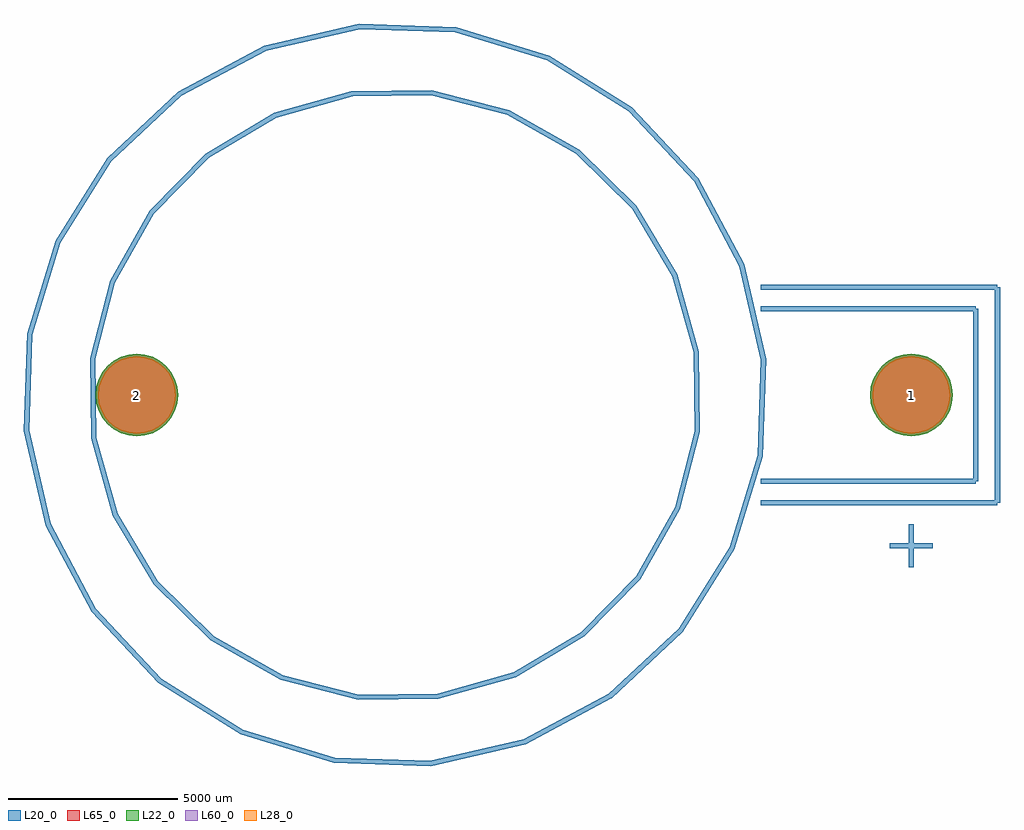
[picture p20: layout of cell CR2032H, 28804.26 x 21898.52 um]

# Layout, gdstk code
import gdstk
lib = gdstk.Library(unit=1e-6, precision=1e-09)
def P(c, l, *ps):  # polygons
    for p in ps: c.add(gdstk.Polygon(p, *l))
L20_0 = (20, 0)
L22_0 = (22, 0)
L28_0 = (28, 0)
L60_0 = (60, 0)
L65_0 = (65, 0)

cr2032h = lib.new_cell('CR2032H')
P(cr2032h, L22_0, [(16458,0),(16434.596,237.62),(16365.285,466.108),(16252.73,676.685),(16101.256,861.256),(15916.685,1012.73),(15706.108,1125.285),(15477.62,1194.596),(15240,1218),(15002.38,1194.596),(14773.892,1125.285),(14563.315,1012.73),(14378.744,861.256),(14227.27,676.685),(14114.715,466.108),(14045.404,237.62),(14022,0),(14045.404,-237.62),(14114.715,-466.108),(14227.27,-676.685),(14378.744,-861.256),(14563.315,-1012.73),(14773.892,-1125.285),(15002.38,-1194.596),(15240,-1218),(15477.62,-1194.596),(15706.108,-1125.285),(15916.685,-1012.73),(16101.256,-861.256),(16252.73,-676.685),(16365.285,-466.108),(16434.596,-237.62)],
  [(-6402,0),(-6425.404,237.62),(-6494.715,466.108),(-6607.27,676.685),(-6758.744,861.256),(-6943.315,1012.73),(-7153.892,1125.285),(-7382.38,1194.596),(-7620,1218),(-7857.62,1194.596),(-8086.108,1125.285),(-8296.685,1012.73),(-8481.256,861.256),(-8632.73,676.685),(-8745.285,466.108),(-8814.596,237.62),(-8838,0),(-8814.596,-237.62),(-8745.285,-466.108),(-8632.73,-676.685),(-8481.256,-861.256),(-8296.685,-1012.73),(-8086.108,-1125.285),(-7857.62,-1194.596),(-7620,-1218),(-7382.38,-1194.596),(-7153.892,-1125.285),(-6943.315,-1012.73),(-6758.744,-861.256),(-6607.27,-676.685),(-6494.715,-466.108),(-6425.404,-237.62)])
P(cr2032h, L28_0, [(16383,0),(16361.038,222.988),(16295.994,437.407),(16190.37,635.017),(16048.223,808.223),(15875.017,950.37),(15677.407,1055.994),(15462.988,1121.038),(15240,1143),(15017.012,1121.038),(14802.593,1055.994),(14604.983,950.37),(14431.777,808.223),(14289.63,635.017),(14184.006,437.407),(14118.962,222.988),(14097,0),(14118.962,-222.988),(14184.006,-437.407),(14289.63,-635.017),(14431.777,-808.223),(14604.983,-950.37),(14802.593,-1055.994),(15017.012,-1121.038),(15240,-1143),(15462.988,-1121.038),(15677.407,-1055.994),(15875.017,-950.37),(16048.223,-808.223),(16190.37,-635.017),(16295.994,-437.407),(16361.038,-222.988)],
  [(-6477,0),(-6498.962,222.988),(-6564.006,437.407),(-6669.63,635.017),(-6811.777,808.223),(-6984.983,950.37),(-7182.593,1055.994),(-7397.012,1121.038),(-7620,1143),(-7842.988,1121.038),(-8057.407,1055.994),(-8255.017,950.37),(-8428.223,808.223),(-8570.37,635.017),(-8675.994,437.407),(-8741.038,222.988),(-8763,0),(-8741.038,-222.988),(-8675.994,-437.407),(-8570.37,-635.017),(-8428.223,-808.223),(-8255.017,-950.37),(-8057.407,-1055.994),(-7842.988,-1121.038),(-7620,-1143),(-7397.012,-1121.038),(-7182.593,-1055.994),(-6984.983,-950.37),(-6811.777,-808.223),(-6669.63,-635.017),(-6564.006,-437.407),(-6498.962,-222.988)])
P(cr2032h, L60_0, [(16383,0),(16361.038,222.988),(16295.994,437.407),(16190.37,635.017),(16048.223,808.223),(15875.017,950.37),(15677.407,1055.994),(15462.988,1121.038),(15240,1143),(15017.012,1121.038),(14802.593,1055.994),(14604.983,950.37),(14431.777,808.223),(14289.63,635.017),(14184.006,437.407),(14118.962,222.988),(14097,0),(14118.962,-222.988),(14184.006,-437.407),(14289.63,-635.017),(14431.777,-808.223),(14604.983,-950.37),(14802.593,-1055.994),(15017.012,-1121.038),(15240,-1143),(15462.988,-1121.038),(15677.407,-1055.994),(15875.017,-950.37),(16048.223,-808.223),(16190.37,-635.017),(16295.994,-437.407),(16361.038,-222.988)],
  [(-6477,0),(-6498.962,222.988),(-6564.006,437.407),(-6669.63,635.017),(-6811.777,808.223),(-6984.983,950.37),(-7182.593,1055.994),(-7397.012,1121.038),(-7620,1143),(-7842.988,1121.038),(-8057.407,1055.994),(-8255.017,950.37),(-8428.223,808.223),(-8570.37,635.017),(-8675.994,437.407),(-8741.038,222.988),(-8763,0),(-8741.038,-222.988),(-8675.994,-437.407),(-8570.37,-635.017),(-8428.223,-808.223),(-8255.017,-950.37),(-8057.407,-1055.994),(-7842.988,-1121.038),(-7620,-1143),(-7397.012,-1121.038),(-7182.593,-1055.994),(-6984.983,-950.37),(-6811.777,-808.223),(-6669.63,-635.017),(-6564.006,-437.407),(-6498.962,-222.988)])
P(cr2032h, L65_0, [(16458,0),(16434.596,237.62),(16365.285,466.108),(16252.73,676.685),(16101.256,861.256),(15916.685,1012.73),(15706.108,1125.285),(15477.62,1194.596),(15240,1218),(15002.38,1194.596),(14773.892,1125.285),(14563.315,1012.73),(14378.744,861.256),(14227.27,676.685),(14114.715,466.108),(14045.404,237.62),(14022,0),(14045.404,-237.62),(14114.715,-466.108),(14227.27,-676.685),(14378.744,-861.256),(14563.315,-1012.73),(14773.892,-1125.285),(15002.38,-1194.596),(15240,-1218),(15477.62,-1194.596),(15706.108,-1125.285),(15916.685,-1012.73),(16101.256,-861.256),(16252.73,-676.685),(16365.285,-466.108),(16434.596,-237.62)],
  [(-6402,0),(-6425.404,237.62),(-6494.715,466.108),(-6607.27,676.685),(-6758.744,861.256),(-6943.315,1012.73),(-7153.892,1125.285),(-7382.38,1194.596),(-7620,1218),(-7857.62,1194.596),(-8086.108,1125.285),(-8296.685,1012.73),(-8481.256,861.256),(-8632.73,676.685),(-8745.285,466.108),(-8814.596,237.62),(-8838,0),(-8814.596,-237.62),(-8745.285,-466.108),(-8632.73,-676.685),(-8481.256,-861.256),(-8296.685,-1012.73),(-8086.108,-1125.285),(-7857.62,-1194.596),(-7620,-1218),(-7382.38,-1194.596),(-7153.892,-1125.285),(-6943.315,-1012.73),(-6758.744,-861.256),(-6607.27,-676.685),(-6494.715,-466.108),(-6425.404,-237.62)])
cr2032h.add(gdstk.FlexPath([(6350,-8890),(8434.53,-6943.58),(9944.261,-4523.966),(10776.307,-1796.051),(10873.966,1054.261),(10230.582,3832.728),(8890,6350),(6943.58,8434.53),(4523.966,9944.261),(1796.051,10776.307),(-1054.261,10873.966),(-3832.728,10230.582),(-6350,8890),(-8434.53,6943.58),(-9944.261,4523.966),(-10776.307,1796.051),(-10873.966,-1054.261),(-10230.582,-3832.728),(-8890,-6350),(-6943.58,-8434.53),(-4523.966,-9944.261),(-1796.051,-10776.307),(1054.261,-10873.966),(3832.728,-10230.582),(6350,-8890)], 149.998, ends="flush", simple_path=True, layer=20, datatype=0))  # L20_0
cr2032h.add(gdstk.FlexPath([(-1270,8890),(-3527.627,8258.38),(-5544.852,7063.966),(-7184.205,5388.154),(-8333.966,3345.148),(-8915.781,1074.176),(-8890,-1270),(-8258.38,-3527.627),(-7063.966,-5544.852),(-5388.154,-7184.205),(-3345.148,-8333.966),(-1074.176,-8915.781),(1270,-8890),(3527.627,-8258.38),(5544.852,-7063.966),(7184.205,-5388.154),(8333.966,-3345.148),(8915.781,-1074.176),(8890,1270),(8258.38,3527.627),(7063.966,5544.852),(5388.154,7184.205),(3345.148,8333.966),(1074.176,8915.781),(-1270,8890)], 149.998, ends="flush", simple_path=True, layer=20, datatype=0))  # L20_0
cr2032h.add(gdstk.FlexPath([(10795,3175),(15875,3175)], 149.998, ends="flush", simple_path=True, layer=20, datatype=0))  # L20_0
cr2032h.add(gdstk.FlexPath([(17145,-3175),(10795,-3175)], 149.998, ends="flush", simple_path=True, layer=20, datatype=0))  # L20_0
cr2032h.add(gdstk.FlexPath([(15875,3175),(17145,3175)], 149.998, ends="flush", simple_path=True, layer=20, datatype=0))  # L20_0
cr2032h.add(gdstk.FlexPath([(17780,-3175),(17145,-3175)], 149.998, ends="flush", simple_path=True, layer=20, datatype=0))  # L20_0
cr2032h.add(gdstk.FlexPath([(17780,3175),(17780,-3175)], 149.998, ends="flush", simple_path=True, layer=20, datatype=0))  # L20_0
cr2032h.add(gdstk.FlexPath([(17145,3175),(17780,3175)], 149.998, ends="flush", simple_path=True, layer=20, datatype=0))  # L20_0
cr2032h.add(gdstk.FlexPath([(17145,-2540),(10795,-2540)], 149.998, ends="flush", simple_path=True, layer=20, datatype=0))  # L20_0
cr2032h.add(gdstk.FlexPath([(17145,2540),(17145,-2540)], 149.998, ends="flush", simple_path=True, layer=20, datatype=0))  # L20_0
cr2032h.add(gdstk.FlexPath([(10795,2540),(17145,2540)], 149.998, ends="flush", simple_path=True, layer=20, datatype=0))  # L20_0
cr2032h.add(gdstk.FlexPath([(14605,-4445),(15875,-4445)], 149.998, ends="flush", simple_path=True, layer=20, datatype=0))  # L20_0
cr2032h.add(gdstk.FlexPath([(15240,-3810),(15240,-5080)], 149.998, ends="flush", simple_path=True, layer=20, datatype=0))  # L20_0
cr2032h.add(gdstk.Label('1', (15240,0), layer=28, texttype=0))
cr2032h.add(gdstk.Label('2', (-7620,0), layer=28, texttype=0))
cr2032h.add(gdstk.Label('type', (0,-12700), layer=9, texttype=0))
cr2032h.add(gdstk.Label('devicename', (0,12700), layer=9, texttype=0))

lib.write_gds('CR2032H.gds')
